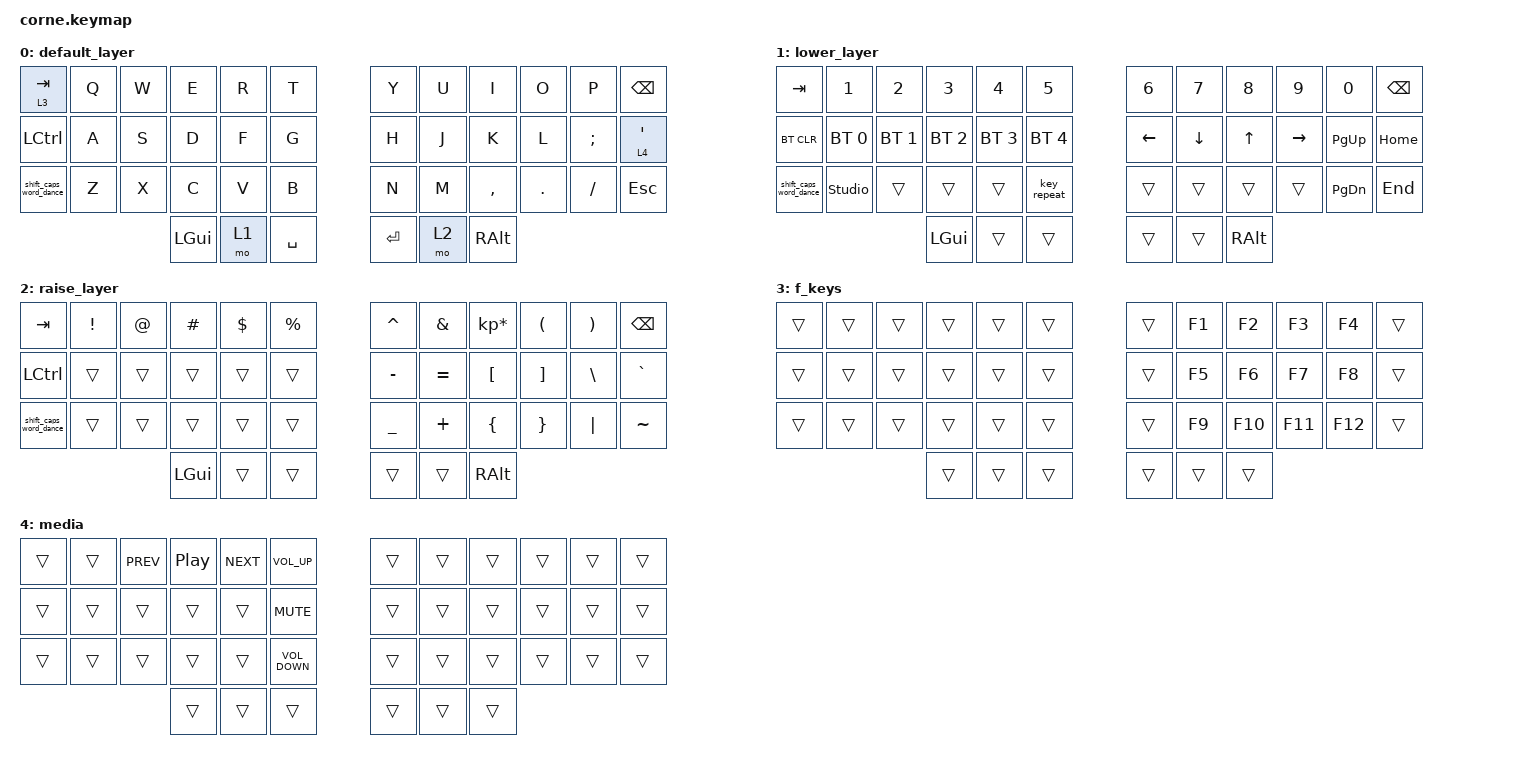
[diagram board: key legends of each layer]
#define COMBO_TIMEOUT 200
#define MACRO_TAP 10
#define MACRO_WAIT 0
#define P_Q 1
#define P_W 2
#define P_E 3
#define P_R 4
#define P_T 5
#define P_Y 6
#define P_U 7
#define P_I 8
#define P_O 9
#define P_P 10
#define P_A 13
#define P_S 14
#define P_D 15
#define P_F 16
#define P_G 17
#define P_H 18
#define P_J 19
#define P_K 20
#define P_L 21
#define P_SEMI 22
#define P_SQT 23
#define P_Z 25
#define P_X 26
#define P_C 27
#define P_V 28
#define P_B 29
#define P_N 30
#define P_M 31
#define P_COMA 32
#define P_DOT 33
#define P_COMBO 38 39

/*
 * Copyright (c) 2020 The ZMK Contributors
 *
 * SPDX-License-Identifier: MIT
 */

#include <behaviors.dtsi>
#include <dt-bindings/zmk/bt.h>
#include <dt-bindings/zmk/keys.h>

/ {
    behaviors {
        shift_caps_word_dance: shift_caps_word_dance {
            compatible = "zmk,behavior-tap-dance";
            label = "SHIFT_CAPS_WORD_DANCE";
            #binding-cells = <0>;
            bindings = <&kp LEFT_SHIFT>, <&caps_word>;
        };
    };

    keymap {
        compatible = "zmk,keymap";

        default_layer {
            // -----------------------------------------------------------------------------------------
            // |  TAB |  Q  |  W  |  E  |  R  |  T  |   |  Y  |  U   |  I  |  O  |  P  | BKSP |
            // | CTRL |  A  |  S  |  D  |  F  |  G  |   |  H  |  J   |  K  |  L  |  ;  |  '   |
            // | SHFT |  Z  |  X  |  C  |  V  |  B  |   |  N  |  M   |  ,  |  .  |  /  | ESC  |
            //                    | GUI | LWR | SPC |   | ENT | RSE  | ALT |

            bindings = <
&lt 3 TAB               &kp Q  &kp W  &kp E     &kp R  &kp T        &kp Y       &kp U  &kp I      &kp O    &kp P     &kp BSPC
&kp LCTRL               &kp A  &kp S  &kp D     &kp F  &kp G        &kp H       &kp J  &kp K      &kp L    &kp SEMI  &lt 4 SQT
&shift_caps_word_dance  &kp Z  &kp X  &kp C     &kp V  &kp B        &kp N       &kp M  &kp COMMA  &kp DOT  &kp FSLH  &kp ESC
                                      &kp LGUI  &mo 1  &kp SPACE    &kp RETURN  &mo 2  &kp RALT
            >;
        };

        lower_layer {
            // -----------------------------------------------------------------------------------------
            // |  TAB |  1  |  2  |  3  |  4  |  5  |   |  6  |  7  |  8  |  9  |  0  | BKSP |
            // | BTCLR| BT1 | BT2 | BT3 | BT4 | BT5 |   | LFT | DWN |  UP | RGT |     |      |
            // | SHFT |     |     |     |     |     |   |     |     |     |     |     |      |
            //                    | GUI |     | SPC |   | ENT |     | ALT |

            bindings = <
&kp TAB                 &kp N1        &kp N2        &kp N3        &kp N4        &kp N5          &kp N6    &kp N7    &kp N8    &kp N9     &kp N0     &kp BACKSPACE
&bt BT_CLR              &bt BT_SEL 0  &bt BT_SEL 1  &bt BT_SEL 2  &bt BT_SEL 3  &bt BT_SEL 4    &kp LEFT  &kp DOWN  &kp UP    &kp RIGHT  &kp PG_UP  &kp HOME
&shift_caps_word_dance  &studio_unlock &trans        &trans        &trans        &key_repeat     &trans    &trans    &trans    &trans     &kp PG_DN  &kp END
                                                    &kp LGUI      &trans        &trans          &trans    &trans    &kp RALT
            >;
        };

        raise_layer {
            // -----------------------------------------------------------------------------------------
            // |  TAB |  !  |  @  |  #  |  $  |  %  |   |  ^  |  &  |  *  |  (  |  )  | BKSP |
            // | CTRL |     |     |     |     |     |   |  -  |  =  |  [  |  ]  |  \  |  `   |
            // | SHFT |     |     |     |     |     |   |  _  |  +  |  {  |  }  | "|" |  ~   |
            //                    | GUI |     | SPC |   | ENT |     | ALT |

            bindings = <
&kp TAB                 &kp EXCL  &kp AT  &kp HASH  &kp DLLR  &kp PRCNT    &kp CARET  &kp AMPS   &kp KP_MULTIPLY  &kp LPAR  &kp RPAR  &kp BSPC
&kp LCTRL               &trans    &trans  &trans    &trans    &trans       &kp MINUS  &kp EQUAL  &kp LBKT         &kp RBKT  &kp BSLH  &kp GRAVE
&shift_caps_word_dance  &trans    &trans  &trans    &trans    &trans       &kp UNDER  &kp PLUS   &kp LBRC         &kp RBRC  &kp PIPE  &kp TILDE
                                          &kp LGUI  &trans    &trans       &trans     &trans     &kp RALT
            >;
        };

        f_keys {
            bindings = <
&trans  &trans  &trans  &trans  &trans  &trans    &trans  &kp F1  &kp F2   &kp F3   &kp F4   &trans
&trans  &trans  &trans  &trans  &trans  &trans    &trans  &kp F5  &kp F6   &kp F7   &kp F8   &trans
&trans  &trans  &trans  &trans  &trans  &trans    &trans  &kp F9  &kp F10  &kp F11  &kp F12  &trans
                        &trans  &trans  &trans    &trans  &trans  &trans
            >;
        };

        media {
            bindings = <
&trans  &trans  &kp C_PREV  &kp C_PLAY_PAUSE  &kp C_NEXT  &kp C_VOLUME_UP      &trans  &trans  &trans  &trans  &trans  &trans
&trans  &trans  &trans      &trans            &trans      &kp C_MUTE           &trans  &trans  &trans  &trans  &trans  &trans
&trans  &trans  &trans      &trans            &trans      &kp C_VOLUME_DOWN    &trans  &trans  &trans  &trans  &trans  &trans
                            &trans            &trans      &trans               &trans  &trans  &trans
            >;
        };

        extra1 {
            status = "reserved";
        };

        extra2 {
            status = "reserved";
        };

        extra3 {
            status = "reserved";
        };

        extra4 {
            status = "reserved";
        };

        extra5 {
            status = "reserved";
        };

        extra6 {
            status = "reserved";
        };

        extra7 {
            status = "reserved";
        };

        extra8 {
            status = "reserved";
        };
    };

    conditional_layers { compatible = "zmk,conditional-layers"; };

    macros {
        // MACROS START
        // MACROS END
    };

    combos {
        compatible = "zmk,combos";

        // COMBOS START
        // COMBOS END

        colon {
            bindings = <&kp COLON>;
            key-positions = <22 21>;
        };

        underscore {
            bindings = <&kp UNDERSCORE>;
            key-positions = <30 31>;
        };

        minus {
            bindings = <&kp KP_MINUS>;
            key-positions = <18 19>;
        };

        input_lang {
            bindings = <&kp LG(SPACE)>;
            key-positions = <25 26>;
        };

        eq {
            bindings = <&kp EQUAL>;
            key-positions = <19 20>;
        };

        plus {
            bindings = <&kp KP_PLUS>;
            key-positions = <31 32>;
        };

        semi {
            bindings = <&kp SEMI>;
            key-positions = <22 23>;
        };

        delete {
            bindings = <&kp DELETE>;
            key-positions = <10 11>;
        };

        tilde {
            bindings = <&kp TILDE>;
            key-positions = <34 35>;
        };

        lhs {
            bindings = <&kp BACKSLASH>;
            key-positions = <10 9>;
        };

        esc {
            bindings = <&kp ESC>;
            key-positions = <0 1>;
        };
    };
};
